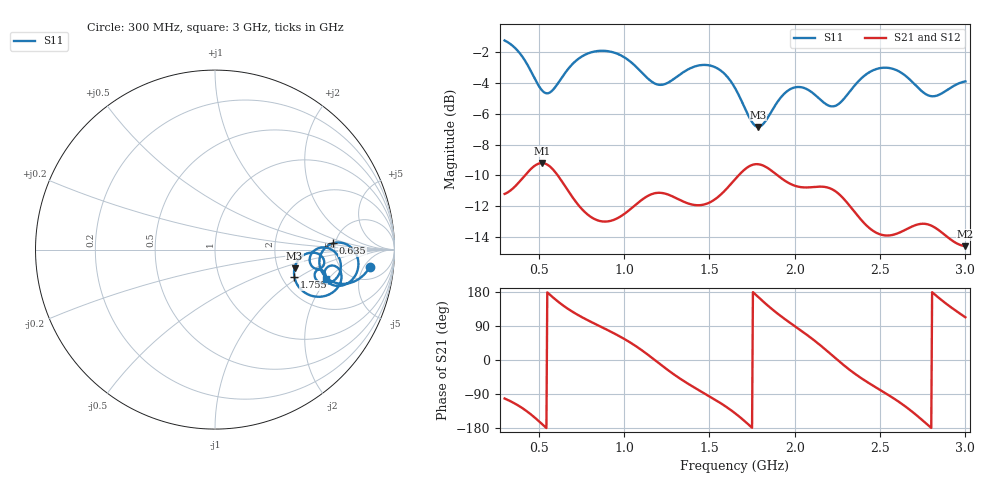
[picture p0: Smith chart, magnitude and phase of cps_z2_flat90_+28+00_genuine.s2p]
! cps_z2_flat90_+28+00_genuine
! simulated by sim/fixtures_fdtd.py (S12 = S21, S22 not computed)
# HZ S RI R 50
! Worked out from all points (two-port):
!   541 points, 300 MHz to 3 GHz, reference 50 ohm
!   highest |S21| = -9.19 dB at 520 MHz (marker M1); lowest = -14.6 dB at 3 GHz (marker M2)
!   |S21| within 3 dB of the highest: start of sweep to 753.8 MHz; 1.037 GHz to 2.338 GHz (1.302 GHz wide, 77.1 % of centre)
!   lowest |S11| = -6.8 dB at 1.785 GHz (marker M3), VSWR 2.67, Z = 124 - j32.3 ohm
!   |S11| at or under -10 dB: nowhere
!   |S22| runs from - to - dB; largest |S21 - S12| = 0
!   S11 on the Smith chart (normalised r, x): 300 MHz: 9, -7; 635 MHz: 4.76, +0.58; 1.755 GHz: 2.34, -0.90; 3 GHz: 3.45, -1.88
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3e8  0.8627 -0.097  -0.0553 -0.27  -0.0553 -0.27  0 0
4.25e8  0.7126 -0.1912  -0.22 -0.2314  -0.22 -0.2314  0 0
5.2e8  0.5874 -0.1058  -0.341 -0.0646  -0.341 -0.0646  0 0
6.35e8  0.6564 0.0347  -0.2527 0.1672  -0.2527 0.1672  0 0
7.5e8  0.7684 0.00238  -0.0995 0.226  -0.0995 0.226  0 0
8.85e8  0.7963 -0.1058  0.0268 0.2224  0.0268 0.2224  0 0
1.025e9  0.7239 -0.1953  0.1585 0.1839  0.1585 0.1839  0 0
1.2e9  0.609 -0.1351  0.2758 -0.034  0.2758 -0.034  0 0
1.4e9  0.6991 -0.1223  0.0893 -0.2382  0.0893 -0.2382  0 0
1.525e9  0.6806 -0.2153  -0.0568 -0.2567  -0.0568 -0.2567  0 0
1.65e9  0.5499 -0.2602  -0.2366 -0.196  -0.2366 -0.196  0 0
1.755e9  0.4421 -0.1511  -0.3428 0.00536  -0.3428 0.00536  0 0
1.785e9  0.443 -0.1036  -0.3348 0.0794  -0.3348 0.0794  0 0
1.92e9  0.5677 -0.0206  -0.1328 0.2803  -0.1328 0.2803  0 0
2.1e9  0.5794 -0.1073  0.1591 0.2422  0.1591 0.2422  0 0
2.255e9  0.5383 -0.0216  0.2764 -0.0071  0.2764 -0.0071  0 0
2.375e9  0.6413 0.00398  0.1683 -0.1594  0.1683 -0.1594  0 0
2.55e9  0.6958 -0.1252  -0.00966 -0.2017  -0.00966 -0.2017  0 0
2.67e9  0.6233 -0.1893  -0.1372 -0.1638  -0.1372 -0.1638  0 0
2.78e9  0.5562 -0.1515  -0.2169 -0.0328  -0.2169 -0.0328  0 0
2.885e9  0.5847 -0.1115  -0.1735 0.1026  -0.1735 0.1026  0 0
3e9  0.6185 -0.1611  -0.072 0.172  -0.072 0.172  0 0
